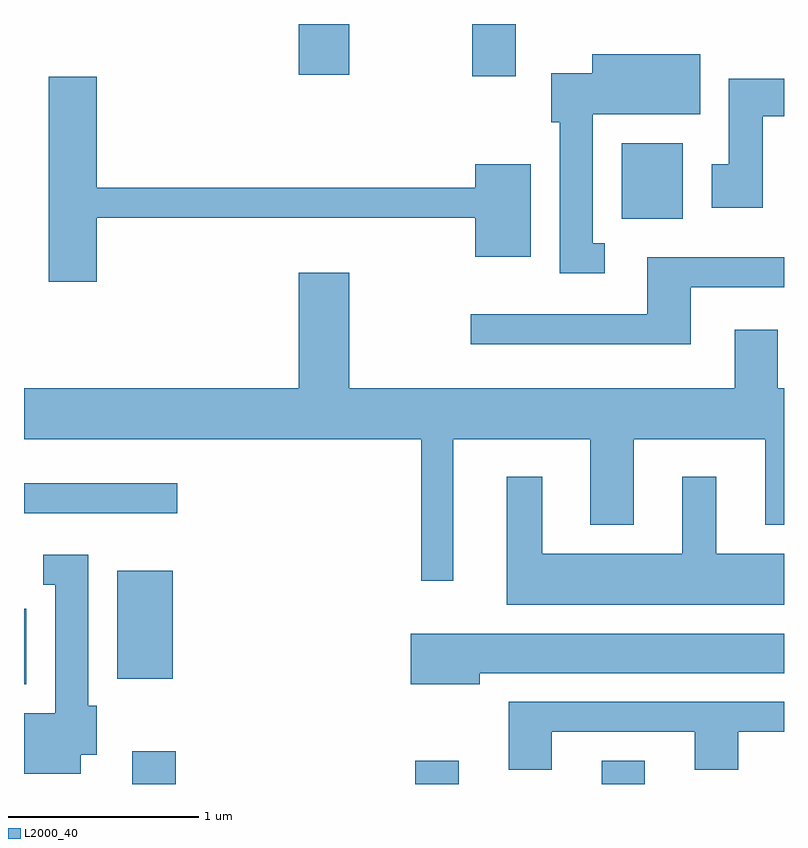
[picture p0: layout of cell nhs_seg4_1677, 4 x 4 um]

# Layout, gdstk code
import gdstk
lib = gdstk.Library(unit=1e-6, precision=1e-09)
def R(c, l, rs):  # rectangles x0, y0, x1, y1
    for r in rs: c.add(gdstk.rectangle(r[:2], r[2:], *l))
def P(c, l, *ps):  # polygons
    for p in ps: c.add(gdstk.Polygon(p, *l))
L2000_40 = (2000, 40)

nhs_seg4_1677 = lib.new_cell('nhs_seg4_1677')
R(nhs_seg4_1677, L2000_40, [(234.181,1343.982,234.409,1344.154), (235.671,1343.982,235.899,1344.104), (236.651,1343.982,236.879,1344.104), (233.611,1344.506,233.624,1344.904), (234.101,1344.536,234.394,1345.104), (233.611,1345.406,234.418,1345.564), (236.756,1346.956,237.079,1347.354), (235.971,1347.706,236.199,1347.982), (235.056,1347.716,235.324,1347.982)])
P(nhs_seg4_1677, L2000_40, [(236.668,1346.829),(236.604,1346.829),(236.604,1347.506),(237.169,1347.506),(237.169,1347.824),(236.601,1347.824),(236.601,1347.724),(236.386,1347.724),(236.386,1347.466),(236.431,1347.466),(236.431,1346.671),(236.668,1346.671)],
  [(233.994,1346.961),(235.986,1346.961),(235.986,1346.756),(236.279,1346.756),(236.279,1347.244),(235.986,1347.244),(235.986,1347.119),(233.994,1347.119),(233.994,1347.704),(233.741,1347.704),(233.741,1346.626),(233.994,1346.626)],
  [(237.499,1347.496),(237.611,1347.496),(237.611,1347.694),(237.321,1347.694),(237.321,1347.244),(237.231,1347.244),(237.231,1347.016),(237.499,1347.016)],
  [(237.119,1346.596),(237.611,1346.596),(237.611,1346.754),(236.891,1346.754),(236.891,1346.454),(235.963,1346.454),(235.963,1346.296),(237.119,1346.296)],
  [(235.869,1345.796),(236.591,1345.796),(236.591,1345.346),(236.819,1345.346),(236.819,1345.796),(237.511,1345.796),(237.511,1345.346),(237.611,1345.346),(237.611,1346.064),(237.579,1346.064),(237.579,1346.374),(237.351,1346.374),(237.351,1346.064),(235.324,1346.064),(235.324,1346.674),(235.056,1346.674),(235.056,1346.064),(233.611,1346.064),(233.611,1345.796),(235.701,1345.796),(235.701,1345.053),(235.869,1345.053)],
  [(237.611,1345.194),(237.254,1345.194),(237.254,1345.599),(237.076,1345.599),(237.076,1345.194),(236.339,1345.194),(236.339,1345.599),(236.151,1345.599),(236.151,1344.926),(237.611,1344.926)],
  [(233.909,1344.136),(233.994,1344.136),(233.994,1344.394),(233.949,1344.394),(233.949,1345.189),(233.713,1345.189),(233.713,1345.031),(233.776,1345.031),(233.776,1344.354),(233.611,1344.354),(233.611,1344.036),(233.909,1344.036)],
  [(236.009,1344.566),(237.611,1344.566),(237.611,1344.774),(235.646,1344.774),(235.646,1344.506),(236.009,1344.506)],
  [(236.389,1344.256),(237.141,1344.256),(237.141,1344.056),(237.369,1344.056),(237.369,1344.256),(237.611,1344.256),(237.611,1344.414),(236.161,1344.414),(236.161,1344.056),(236.389,1344.056)])

lib.write_gds('nhs_seg4_1677.gds')
